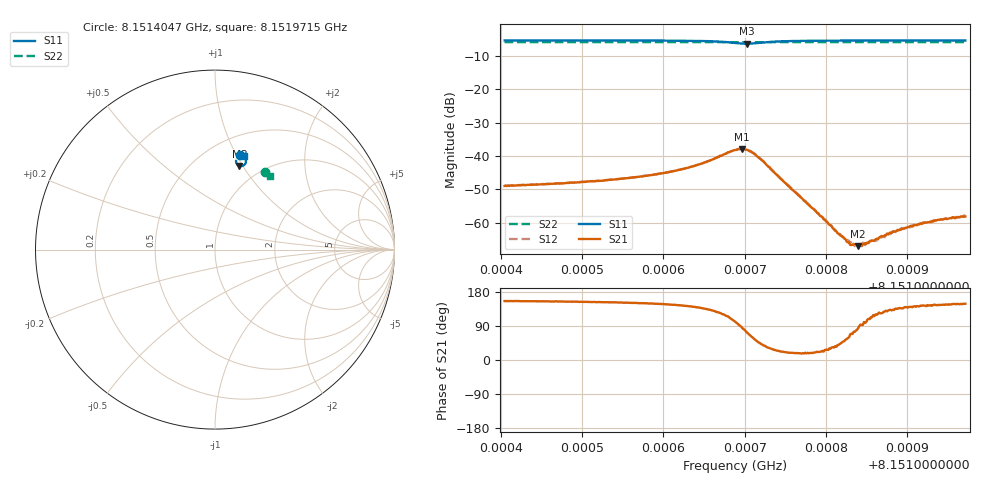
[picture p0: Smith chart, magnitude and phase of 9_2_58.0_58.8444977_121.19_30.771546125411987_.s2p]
#  HZ  S  RI  R  50.00
! Rohde & Schwarz Vector Network Analyzer
! Rohde-Schwarz,ZNB20-2Port,1311601062101988,3.16
! Created: UTC 3/21/2024, 12:50:42 AM
! freq[Hz]  re:S11  im:S11  re:S21  im:S21  re:S12  im:S12  re:S22  im:S22
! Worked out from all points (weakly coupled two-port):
!   401 points, 8.1514047 GHz to 8.1519715 GHz, reference 50 ohm
!   highest |S21| = -37.86 dB at 8.1516966 GHz (marker M1); lowest = -67.1 dB at 8.1518397 GHz (marker M2)
!   lowest |S11| = -6.3 dB at 8.1517022 GHz (marker M3), VSWR 2.89, Z = 39.6 + j48.4 ohm
!   |S11| at or under -10 dB: nowhere
!   |S22| runs from -5.8 to -5.8 dB; largest |S21 - S12| = 0.00039
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8.15140465e9  0.1369 0.5264  -0.00322 0.00147  -0.00325 0.00154  0.2776 0.4328
8.15149959e9  0.1457 0.5239  -0.00367 0.00181  -0.0036 0.00189  0.2828 0.4293
8.15154919e9  0.1512 0.5217  -0.00398 0.00218  -0.00402 0.00226  0.2855 0.4275
8.15159453e9  0.1577 0.5184  -0.00459 0.00288  -0.00457 0.00293  0.2879 0.4256
8.15163987e9  0.1667 0.5102  -0.00547 0.0047  -0.00543 0.00477  0.2904 0.4233
8.15168805e9  0.1628 0.4718  -0.00244 0.012  -0.00238 0.0121  0.292 0.4203
8.15169655e9  0.1481 0.4653  0.00099 0.0128  0.000926 0.0128  0.2919 0.4201
8.15170222e9  0.1362 0.4665  0.00351 0.012  0.00349 0.0121  0.2917 0.4201
8.15171072e9  0.1224 0.4766  0.00593 0.00927  0.00599 0.00927  0.2917 0.4203
8.15172206e9  0.117 0.4939  0.00647 0.00544  0.00656 0.0054  0.2924 0.4207
8.15178299e9  0.1393 0.5202  0.00156 0.000523  0.00159 0.00052  0.2968 0.4191
8.15181275e9  0.1458 0.5211  0.000604 0.00042  0.000579 0.000425  0.2986 0.418
8.1518255e9  0.1479 0.5212  0.000293 0.000425  0.000308 0.000439  0.2992 0.4176
8.15182834e9  0.1484 0.5212  0.000255 0.000435  0.000221 0.000447  0.2993 0.4176
8.151834e9  0.1493 0.5211  0.000124 0.000451  0.000149 0.000438  0.2997 0.4172
8.15183967e9  0.1501 0.5211  4.41e-05 0.000439  4.99e-05 0.000465  0.3001 0.4169
8.15184676e9  0.1512 0.5211  -8.44e-05 0.000467  -6.09e-05 0.000487  0.3005 0.4168
8.15186234e9  0.1531 0.5208  -0.00028 0.000498  -0.000252 0.000468  0.3011 0.416
8.15187793e9  0.1552 0.5206  -0.000463 0.000516  -0.000427 0.000525  0.3021 0.4155
8.1519091e9  0.1584 0.5202  -0.000716 0.000567  -0.000717 0.00058  0.3036 0.4142
8.15193886e9  0.1614 0.5195  -0.000906 0.000624  -0.0009 0.000643  0.3052 0.413
8.15197145e9  0.1643 0.5188  -0.00105 0.000641  -0.00106 0.000683  0.3069 0.4117
